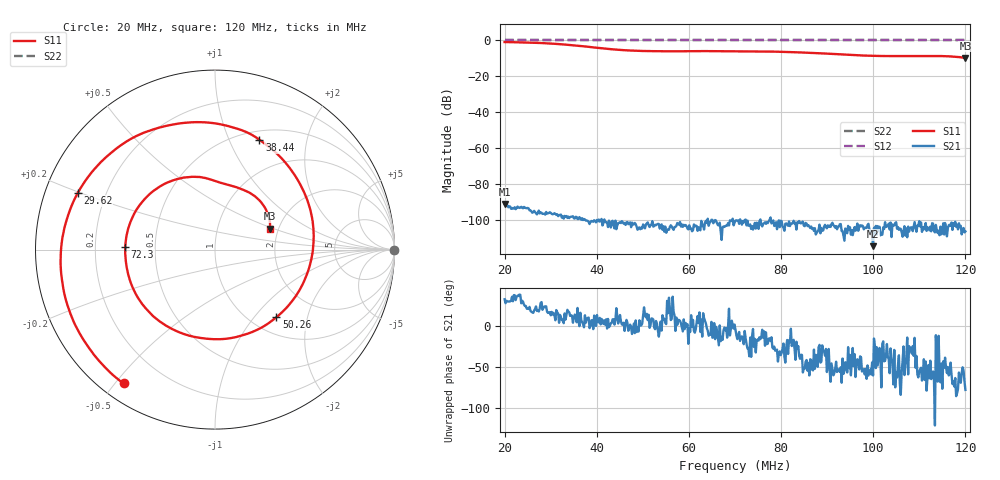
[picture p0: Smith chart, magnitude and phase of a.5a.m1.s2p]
! Anritsu VNA Master:  Model: MS2036C/10/77
! SN:  1601066
! /bd0/18may8/255.ew.m1.s2p
! Existing Calibration Information:
! TYPE:  Current Settings,  Active Cal Settings
! TIME:  05/08/2018 10:00:51 AM,  05/08/2018 09:57:41 AM
! INTERNAL TEMP:  46.8 C,  46.8 C
! # POINTS:  500,  500
! START FREQ:  20.000 MHz,  20.000 MHz
! STOP FREQ:  120.000 MHz,  120.000 MHz
! SOURCE POWER:  High,  High
! IFBW:  50 Hz,  50 Hz
! AVG FACTOR:  1 ,  1
! REF PLANE 1:  0 mm,  0 mm
! REF PLANE 2:  0 mm,  0 mm
! CAL TYPE:  Full S11,  Full S11
! CAL METHOD:  SOLT,  SOLT
! CAL LINE TYPE:  Coax,  Coax
! DUT PORT 1:  K-Conn(F),  K-Conn(F)
! DUT PORT 2:  K-Conn(F),  K-Conn(F)
! CAL STATUS:  OK: Accuracy High,  --
# GHZ S DB R 50.0
! FREQ.GHZ  S11DB  S11A  S21DB  S21A  S12DB  S12A  S22DB  S22A
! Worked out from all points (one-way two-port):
!   500 points, 20 MHz to 120 MHz, reference 50 ohm
!   highest |S21| = -90.93 dB at 20 MHz (marker M1); lowest = -114.3 dB at 99.96 MHz (marker M2)
!   lowest |S11| = -9.7 dB at 120 MHz (marker M3), VSWR 1.98, Z = 90.3 + j23.5 ohm
!   |S11| at or under -10 dB: nowhere
!   |S22| runs from 0.0 to 0.0 dB; largest |S21 - S12| = 1
!   S11 on the Smith chart (normalised r, x): 20 MHz: 0.06, -0.53; 29.62 MHz: 0.10, +0.20; 38.44 MHz: 0.60, +1.30; 50.26 MHz: 1.29, -1.31; 72.3 MHz: 0.33, +0.01; 120 MHz: 1.81, +0.47
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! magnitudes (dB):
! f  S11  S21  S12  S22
! 20 MHz  -0.9  -90.9  0.0  0.0
! 25.21 MHz  -1.2  -93.3  0.0  0.0
! 29.62 MHz  -1.6  -95.9  0.0  0.0
! 32.83 MHz  -2.2  -99.0  0.0  0.0
! 36.83 MHz  -3.2  -98.8  0.0  0.0
! 38.44 MHz  -3.6  -102.1  0.0  0.0
! 41.44 MHz  -4.5  -101.5  0.0  0.0
! 44.65 MHz  -5.2  -101.5  0.0  0.0
! 47.05 MHz  -5.6  -101.4  0.0  0.0
! 50.26 MHz  -5.9  -103.4  0.0  0.0
! 53.47 MHz  -6.0  -102.0  0.0  0.0
! 64.89 MHz  -5.9  -99.7  0.0  0.0
! 70.1 MHz  -6.0  -100.1  0.0  0.0
! 72.3 MHz  -6.0  -99.5  0.0  0.0
! 78.52 MHz  -6.2  -103.1  0.0  0.0
! 86.73 MHz  -6.9  -104.8  0.0  0.0
! 97.15 MHz  -8.3  -102.7  0.0  0.0
! 99.96 MHz  -8.6  -114.3  0.0  0.0
! 103.4 MHz  -8.7  -101.8  0.0  0.0
! 114.6 MHz  -8.7  -103.5  0.0  0.0
! 117.4 MHz  -9.0  -101.5  0.0  0.0
! 120 MHz  -9.7  -106.1  0.0  0.0
